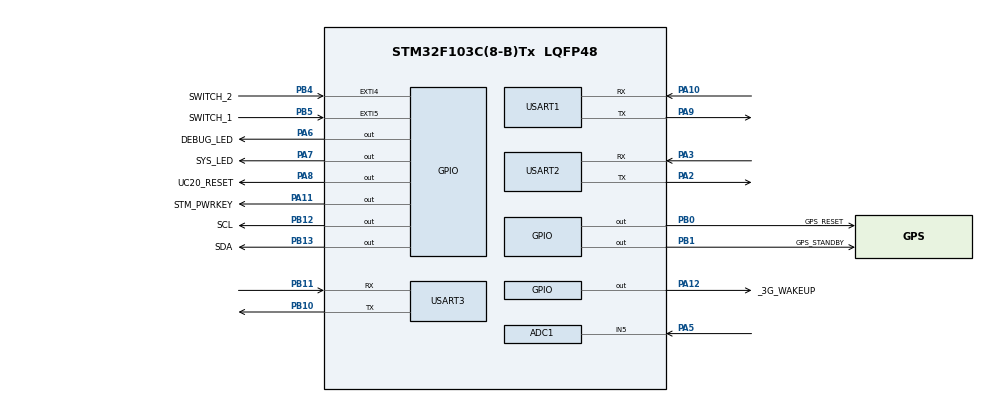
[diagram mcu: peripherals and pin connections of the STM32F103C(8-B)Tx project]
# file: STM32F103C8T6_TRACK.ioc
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ADC1.Channel-0\#ChannelRegularConversion=ADC_CHANNEL_5
ADC1.NbrOfConversionFlag=1
ADC1.Rank-0\#ChannelRegularConversion=1
ADC1.SamplingTime-0\#ChannelRegularConversion=ADC_SAMPLETIME_1CYCLE_5
ADC1.master=1
FREERTOS.Tasks01=defaultTask,0,64,StartDefaultTask,Default,NULL,Dynamic,NULL,NULL;ADC_Task,-3,128,StartADCTask,Default,NULL,Dynamic,NULL,NULL;GPS_Task,-3,128,StartGPSTask,Default,NULL,Dynamic,NULL,NULL;UC20_Task,-3,128,StartUC20Task,Default,NULL,Dynamic,NULL,NULL;Debug_Task,-3,64,StartDebugTask,Default,NULL,Dynamic,NULL,NULL
FREERTOS.configMINIMAL_STACK_SIZE=64
Mcu.Family=STM32F1
Mcu.Name=STM32F103C(8-B)Tx
Mcu.Package=LQFP48
NVIC.ADC1_2_IRQn=true\:0\:0\:false\:true\:true\:3\:false
NVIC.EXTI4_IRQn=true\:5\:0\:false\:true\:true\:1\:true
NVIC.EXTI9_5_IRQn=true\:5\:0\:false\:true\:true\:2\:true
NVIC.PriorityGroup=NVIC_PRIORITYGROUP_4
NVIC.USART1_IRQn=true\:5\:0\:false\:true\:true\:4\:true
NVIC.USART2_IRQn=true\:5\:0\:false\:true\:true\:5\:true
NVIC.USART3_IRQn=true\:5\:0\:false\:true\:true\:6\:true
PA0-WKUP.Mode=SYS_WakeUp0
PA0-WKUP.Signal=SYS_WKUP
PA10.Mode=Asynchronous
PA10.Signal=USART1_RX
PA11.GPIO_Label=STM_PWRKEY
PA11.Signal=GPIO_Output
PA12.GPIO_Label=_3G_WAKEUP
PA12.Signal=GPIO_Output
PA13.Mode=Serial_Wire
PA13.Signal=SYS_JTMS-SWDIO
PA14.Mode=Serial_Wire
PA14.Signal=SYS_JTCK-SWCLK
PA2.Mode=Asynchronous
PA2.Signal=USART2_TX
PA3.Mode=Asynchronous
PA3.Signal=USART2_RX
PA5.Signal=ADCx_IN5
PA6.GPIO_Label=DEBUG_LED
PA6.Signal=GPIO_Output
PA7.GPIO_Label=SYS_LED
PA7.Signal=GPIO_Output
PA8.GPIO_Label=UC20_RESET
PA8.Signal=GPIO_Output
PA9.Mode=Asynchronous
PA9.Signal=USART1_TX
PB0.GPIO_Label=GPS_RESET
PB0.Signal=GPIO_Output
PB1.GPIO_Label=GPS_STANDBY
PB1.Signal=GPIO_Output
PB10.Mode=Asynchronous
PB10.Signal=USART3_TX
PB11.Mode=Asynchronous
PB11.Signal=USART3_RX
PB12.GPIO_Label=SCL
PB12.Signal=GPIO_Output
PB13.GPIO_Label=SDA
PB13.Signal=GPIO_Output
PB4.GPIO_Label=SWITCH_2
PB4.GPIO_ModeDefaultEXTI=GPIO_MODE_IT_FALLING
PB4.GPIO_PuPd=GPIO_PULLUP
PB4.Signal=GPXTI4
PB5.GPIO_Label=SWITCH_1
PB5.GPIO_ModeDefaultEXTI=GPIO_MODE_IT_FALLING
PB5.GPIO_PuPd=GPIO_PULLUP
PB5.Signal=GPXTI5
ProjectManager.HeapSize=0x200
ProjectManager.StackSize=0x400
ProjectManager.TargetToolchain=MDK-ARM V5
RCC.APB1Freq_Value=8000000
RCC.APB2Freq_Value=8000000
SH.ADCx_IN5.0=ADC1_IN5,IN5
USART1.VirtualMode=VM_ASYNC
USART2.VirtualMode=VM_ASYNC
USART3.VirtualMode=VM_ASYNC
VP_FREERTOS_VS_ENABLE.Mode=Enabled
VP_IWDG_VS_IWDG.Mode=IWDG_Activate
board=STM32F103C8T6_TRACK

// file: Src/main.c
/**
  ******************************************************************************
  * File Name          : main.c
  * Description        : Main program body
  ******************************************************************************
  * This notice applies to any and all portions of this file
  * that are not between comment pairs USER CODE BEGIN and
  * USER CODE END. Other portions of this file, whether
  * inserted by the user or by software development tools
  * are owned by their respective copyright owners.
  *
  * Copyright (c) 2018 STMicroelectronics International N.V.
  * All rights reserved.
  *
  * Redistribution and use in source and binary forms, with or without
  * modification, are permitted, provided that the following conditions are met:
  *
  * 1. Redistribution of source code must retain the above copyright notice,
  *    this list of conditions and the following disclaimer.
  * 2. Redistributions in binary form must reproduce the above copyright notice,
  *    this list of conditions and the following disclaimer in the documentation
  *    and/or other materials provided with the distribution.
  * 3. Neither the name of STMicroelectronics nor the names of other
  *    contributors to this software may be used to endorse or promote products
  *    derived from this software without specific written permission.
  * 4. This software, including modifications and/or derivative works of this
  *    software, must execute solely and exclusively on microcontroller or
  *    microprocessor devices manufactured by or for STMicroelectronics.
  * 5. Redistribution and use of this software other than as permitted under
  *    this license is void and will automatically terminate your rights under
  *    this license.
  *
  * THIS SOFTWARE IS PROVIDED BY STMICROELECTRONICS AND CONTRIBUTORS "AS IS"
  * AND ANY EXPRESS, IMPLIED OR STATUTORY WARRANTIES, INCLUDING, BUT NOT
  * LIMITED TO, THE IMPLIED WARRANTIES OF MERCHANTABILITY, FITNESS FOR A
  * PARTICULAR PURPOSE AND NON-INFRINGEMENT OF THIRD PARTY INTELLECTUAL PROPERTY
  * RIGHTS ARE DISCLAIMED TO THE FULLEST EXTENT PERMITTED BY LAW. IN NO EVENT
  * SHALL STMICROELECTRONICS OR CONTRIBUTORS BE LIABLE FOR ANY DIRECT, INDIRECT,
  * INCIDENTAL, SPECIAL, EXEMPLARY, OR CONSEQUENTIAL DAMAGES (INCLUDING, BUT NOT
  * LIMITED TO, PROCUREMENT OF SUBSTITUTE GOODS OR SERVICES; LOSS OF USE, DATA,
  * OR PROFITS; OR BUSINESS INTERRUPTION) HOWEVER CAUSED AND ON ANY THEORY OF
  * LIABILITY, WHETHER IN CONTRACT, STRICT LIABILITY, OR TORT (INCLUDING
  * NEGLIGENCE OR OTHERWISE) ARISING IN ANY WAY OUT OF THE USE OF THIS SOFTWARE,
  * EVEN IF ADVISED OF THE POSSIBILITY OF SUCH DAMAGE.
  *
  ******************************************************************************
  */
#include "main.h"
#include "stm32f1xx_hal.h"
#include "cmsis_os.h"
#include "adc.h"
#include "iwdg.h"
#include "usart.h"
#include "gpio.h"

/* USER CODE BEGIN Includes */
uint8_t aTxStartMessage[] = "\r\n****CAT-TRACK SYS****\r\n\r\n";
uint8_t aRxBuffer[20];

__IO ITStatus UartReady = RESET;

/* USER CODE END Includes */

/* USER CODE BEGIN PV */
/* Private variables ---------------------------------------------------------*/

/* USER CODE END PV */

void SystemClock_Config(void);
void MX_FREERTOS_Init(void);
static void MX_NVIC_Init(void);

/* USER CODE BEGIN PFP */
/* Private function prototypes -----------------------------------------------*/

/* USER CODE END PFP */

int main(void)
{

  /* MCU Configuration----------------------------------------------------------*/

  /* Reset of all peripherals, Initializes the Flash interface and the Systick. */
  HAL_Init();

  /* Configure the system clock */
  SystemClock_Config();

  /* Initialize all configured peripherals */
  MX_GPIO_Init();
  MX_USART1_UART_Init();
  MX_USART2_UART_Init();
  MX_USART3_UART_Init();
  MX_ADC1_Init();
  MX_IWDG_Init();

  /* Initialize interrupts */
  MX_NVIC_Init();

  /* USER CODE BEGIN 2 */
	HAL_UART_Transmit_IT(&huart1, (uint8_t *)aTxStartMessage, sizeof(aTxStartMessage));
    HAL_UART_Receive_IT(&huart1, (uint8_t *)aRxBuffer, 1);
  /* USER CODE END 2 */

  /* Call init function for freertos objects (in freertos.c) */
  MX_FREERTOS_Init();

  /* Start scheduler */
  osKernelStart();

  /* We should never get here as control is now taken by the scheduler */

  /* Infinite loop */
  while (1)
  {

  }

}

/** System Clock Configuration
*/
void SystemClock_Config(void)
{

  RCC_OscInitTypeDef RCC_OscInitStruct;
  RCC_ClkInitTypeDef RCC_ClkInitStruct;
  RCC_PeriphCLKInitTypeDef PeriphClkInit;

    /**Initializes the CPU, AHB and APB busses clocks
    */
  RCC_OscInitStruct.OscillatorType = RCC_OSCILLATORTYPE_HSI|RCC_OSCILLATORTYPE_LSI;
  RCC_OscInitStruct.HSIState = RCC_HSI_ON;
  RCC_OscInitStruct.HSICalibrationValue = 16;
  RCC_OscInitStruct.LSIState = RCC_LSI_ON;
  RCC_OscInitStruct.PLL.PLLState = RCC_PLL_NONE;
  if (HAL_RCC_OscConfig(&RCC_OscInitStruct) != HAL_OK)
  {
    _Error_Handler(__FILE__, __LINE__);
  }

    /**Initializes the CPU, AHB and APB busses clocks
    */
  RCC_ClkInitStruct.ClockType = RCC_CLOCKTYPE_HCLK|RCC_CLOCKTYPE_SYSCLK
                              |RCC_CLOCKTYPE_PCLK1|RCC_CLOCKTYPE_PCLK2;
  RCC_ClkInitStruct.SYSCLKSource = RCC_SYSCLKSOURCE_HSI;
  RCC_ClkInitStruct.AHBCLKDivider = RCC_SYSCLK_DIV1;
  RCC_ClkInitStruct.APB1CLKDivider = RCC_HCLK_DIV1;
  RCC_ClkInitStruct.APB2CLKDivider = RCC_HCLK_DIV1;

  if (HAL_RCC_ClockConfig(&RCC_ClkInitStruct, FLASH_LATENCY_0) != HAL_OK)
  {
    _Error_Handler(__FILE__, __LINE__);
  }

  PeriphClkInit.PeriphClockSelection = RCC_PERIPHCLK_ADC;
  PeriphClkInit.AdcClockSelection = RCC_ADCPCLK2_DIV2;
  if (HAL_RCCEx_PeriphCLKConfig(&PeriphClkInit) != HAL_OK)
  {
    _Error_Handler(__FILE__, __LINE__);
  }

    /**Configure the Systick interrupt time
    */
  HAL_SYSTICK_Config(HAL_RCC_GetHCLKFreq()/1000);

    /**Configure the Systick
    */
  HAL_SYSTICK_CLKSourceConfig(SYSTICK_CLKSOURCE_HCLK);

  /* SysTick_IRQn interrupt configuration */
  HAL_NVIC_SetPriority(SysTick_IRQn, 15, 0);
}

/** NVIC Configuration
*/
static void MX_NVIC_Init(void)
{
  /* EXTI4_IRQn interrupt configuration */
  HAL_NVIC_SetPriority(EXTI4_IRQn, 5, 0);
  HAL_NVIC_EnableIRQ(EXTI4_IRQn);
  /* EXTI9_5_IRQn interrupt configuration */
  HAL_NVIC_SetPriority(EXTI9_5_IRQn, 5, 0);
  HAL_NVIC_EnableIRQ(EXTI9_5_IRQn);
  /* ADC1_2_IRQn interrupt configuration */
  HAL_NVIC_SetPriority(ADC1_2_IRQn, 0, 0);
  HAL_NVIC_EnableIRQ(ADC1_2_IRQn);
  /* USART1_IRQn interrupt configuration */
  HAL_NVIC_SetPriority(USART1_IRQn, 5, 0);
  HAL_NVIC_EnableIRQ(USART1_IRQn);
  /* USART2_IRQn interrupt configuration */
  HAL_NVIC_SetPriority(USART2_IRQn, 5, 0);
  HAL_NVIC_EnableIRQ(USART2_IRQn);
  /* USART3_IRQn interrupt configuration */
  HAL_NVIC_SetPriority(USART3_IRQn, 5, 0);
  HAL_NVIC_EnableIRQ(USART3_IRQn);
}

/* USER CODE BEGIN 4 */
/**
  * @brief Rx Transfer completed callbacks
  * @param huart: uart handle
  * @retval None
  */
void HAL_UART_RxCpltCallback(UART_HandleTypeDef *huart)
{
	//HAL_UART_Transmit(&huart1, (uint8_t *)aRxBuffer, 10,0xFFFF);
	//HAL_UART_Receive_IT(&huart1, (uint8_t *)aRxBuffer, 1);
}
/* USER CODE END 4 */

void _Error_Handler(char * file, int line)
{
  while(1)
  {
  }
}

/************************ (C) COPYRIGHT STMicroelectronics *****END OF FILE****/

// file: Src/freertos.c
/**
  ******************************************************************************
  * File Name          : freertos.c
  * Description        : Code for freertos applications
  ******************************************************************************
  * This notice applies to any and all portions of this file
  * that are not between comment pairs USER CODE BEGIN and
  * USER CODE END. Other portions of this file, whether
  * inserted by the user or by software development tools
  * are owned by their respective copyright owners.
  *
  * Copyright (c) 2018 STMicroelectronics International N.V.
  * All rights reserved.
  *
  * Redistribution and use in source and binary forms, with or without
  * modification, are permitted, provided that the following conditions are met:
  *
  * 1. Redistribution of source code must retain the above copyright notice,
  *    this list of conditions and the following disclaimer.
  * 2. Redistributions in binary form must reproduce the above copyright notice,
  *    this list of conditions and the following disclaimer in the documentation
  *    and/or other materials provided with the distribution.
  * 3. Neither the name of STMicroelectronics nor the names of other
  *    contributors to this software may be used to endorse or promote products
  *    derived from this software without specific written permission.
  * 4. This software, including modifications and/or derivative works of this
  *    software, must execute solely and exclusively on microcontroller or
  *    microprocessor devices manufactured by or for STMicroelectronics.
  * 5. Redistribution and use of this software other than as permitted under
  *    this license is void and will automatically terminate your rights under
  *    this license.
  *
  * THIS SOFTWARE IS PROVIDED BY STMICROELECTRONICS AND CONTRIBUTORS "AS IS"
  * AND ANY EXPRESS, IMPLIED OR STATUTORY WARRANTIES, INCLUDING, BUT NOT
  * LIMITED TO, THE IMPLIED WARRANTIES OF MERCHANTABILITY, FITNESS FOR A
  * PARTICULAR PURPOSE AND NON-INFRINGEMENT OF THIRD PARTY INTELLECTUAL PROPERTY
  * RIGHTS ARE DISCLAIMED TO THE FULLEST EXTENT PERMITTED BY LAW. IN NO EVENT
  * SHALL STMICROELECTRONICS OR CONTRIBUTORS BE LIABLE FOR ANY DIRECT, INDIRECT,
  * INCIDENTAL, SPECIAL, EXEMPLARY, OR CONSEQUENTIAL DAMAGES (INCLUDING, BUT NOT
  * LIMITED TO, PROCUREMENT OF SUBSTITUTE GOODS OR SERVICES; LOSS OF USE, DATA,
  * OR PROFITS; OR BUSINESS INTERRUPTION) HOWEVER CAUSED AND ON ANY THEORY OF
  * LIABILITY, WHETHER IN CONTRACT, STRICT LIABILITY, OR TORT (INCLUDING
  * NEGLIGENCE OR OTHERWISE) ARISING IN ANY WAY OUT OF THE USE OF THIS SOFTWARE,
  * EVEN IF ADVISED OF THE POSSIBILITY OF SUCH DAMAGE.
  *
  ******************************************************************************
  */

#include "FreeRTOS.h"
#include "task.h"
#include "cmsis_os.h"

/* USER CODE BEGIN Includes */
#include "stm32f1xx_hal.h"
#include "cmsis_os.h"
#include "adc.h"
#include "iwdg.h"
#include "usart.h"
#include "gpio.h"
/* USER CODE END Includes */

osThreadId defaultTaskHandle;
osThreadId ADC_TaskHandle;
osThreadId GPS_TaskHandle;
osThreadId UC20_TaskHandle;
osThreadId Debug_TaskHandle;

/* USER CODE BEGIN Variables */
extern uint8_t aTxStartMessage[];
extern uint8_t aRxBuffer[20];

/* USER CODE END Variables */

void StartDefaultTask(void const * argument);
void StartADCTask(void const * argument);
void StartGPSTask(void const * argument);
void StartUC20Task(void const * argument);
void StartDebugTask(void const * argument);

void MX_FREERTOS_Init(void); /* (MISRA C 2004 rule 8.1) */

/* Hook prototypes */

/* Init FreeRTOS */

void MX_FREERTOS_Init(void) {

  /* Create the thread(s) */
  /* definition and creation of defaultTask */
  osThreadDef(defaultTask, StartDefaultTask, osPriorityNormal, 0, 64);
  defaultTaskHandle = osThreadCreate(osThread(defaultTask), NULL);

  /* definition and creation of ADC_Task */
  osThreadDef(ADC_Task, StartADCTask, osPriorityIdle, 0, 128);
  ADC_TaskHandle = osThreadCreate(osThread(ADC_Task), NULL);

  /* definition and creation of GPS_Task */
  osThreadDef(GPS_Task, StartGPSTask, osPriorityIdle, 0, 128);
  GPS_TaskHandle = osThreadCreate(osThread(GPS_Task), NULL);

  /* definition and creation of UC20_Task */
  osThreadDef(UC20_Task, StartUC20Task, osPriorityIdle, 0, 128);
  UC20_TaskHandle = osThreadCreate(osThread(UC20_Task), NULL);

  /* definition and creation of Debug_Task */
  osThreadDef(Debug_Task, StartDebugTask, osPriorityIdle, 0, 64);
  Debug_TaskHandle = osThreadCreate(osThread(Debug_Task), NULL);

}

/* StartDefaultTask function */
void StartDefaultTask(void const * argument)
{

  /* USER CODE BEGIN StartDefaultTask */
	HAL_GPIO_WritePin(GPS_RESET_GPIO_Port,GPS_RESET_Pin,GPIO_PIN_SET);
	HAL_GPIO_WritePin(GPS_STANDBY_GPIO_Port,GPS_STANDBY_Pin,GPIO_PIN_SET);
  /* Infinite loop */
  for(;;)
  {
	HAL_GPIO_WritePin(GPIOA, DEBUG_LED_Pin, GPIO_PIN_SET);
    osDelay(50);
	HAL_GPIO_WritePin(GPIOA, DEBUG_LED_Pin, GPIO_PIN_RESET);
    osDelay(5000);
  }
  /* USER CODE END StartDefaultTask */
}

/* StartADCTask function */
void StartADCTask(void const * argument)
{
  for(;;)
  {
    osDelay(1);
  }
}

/* StartGPSTask function */
void StartGPSTask(void const * argument)
{
  /* USER CODE BEGIN StartGPSTask */
  /* Infinite loop */
  for(;;)
  {
if(HAL_UART_Receive_IT(&huart2,(uint8_t *)&value,1) != HAL_OK){    //?????main???while(1)?????????????????
        HAL_UART_Transmit(&huart2, (uint8_t *)&"ERROR\r\n",7,10);
        while(1);
}
    osDelay(1000);
  }
  /* USER CODE END StartGPSTask */
}

/* StartUC20Task function */
void StartUC20Task(void const * argument)
{
  for(;;)
  {
    osDelay(1);
  }
}

/* StartDebugTask function */
void StartDebugTask(void const * argument)
{
  /* USER CODE BEGIN StartDebugTask */
  /* Infinite loop */
  for(;;)
  {
	HAL_IWDG_Refresh(&hiwdg);
    osDelay(1);
  }
  /* USER CODE END StartDebugTask */
}

/************************ (C) COPYRIGHT STMicroelectronics *****END OF FILE****/
